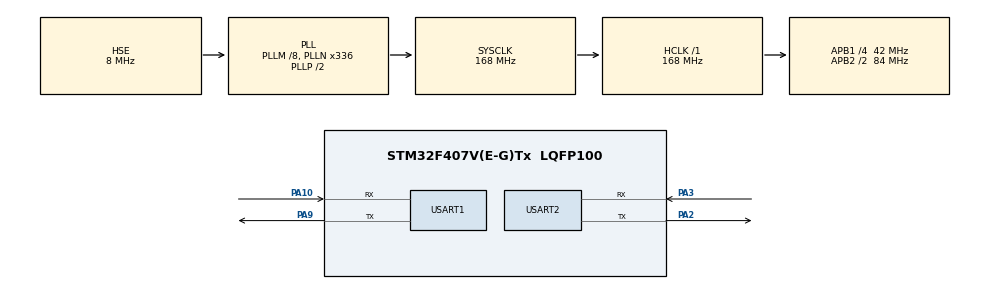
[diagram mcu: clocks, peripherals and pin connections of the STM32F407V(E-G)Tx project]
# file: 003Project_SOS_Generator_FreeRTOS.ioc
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FREERTOS.Tasks01=taskUart,1,128,startUARTtask,Default,NULL,Dynamic,NULL,NULL;taskGPS,-2,128,startGPS,Default,NULL,Dynamic,NULL,NULL
FREERTOS.configUSE_COUNTING_SEMAPHORES=1
Mcu.Family=STM32F4
Mcu.Name=STM32F407V(E-G)Tx
Mcu.Package=LQFP100
NVIC.PriorityGroup=NVIC_PRIORITYGROUP_4
NVIC.TIM6_DAC_IRQn=true\:15\:0\:false\:false\:true\:false\:false\:true\:true
NVIC.TimeBase=TIM6_DAC_IRQn
NVIC.TimeBaseIP=TIM6
PA10.Mode=Asynchronous
PA10.Signal=USART1_RX
PA13.Mode=Trace_Asynchronous_SW
PA13.Signal=SYS_JTMS-SWDIO
PA14.Mode=Trace_Asynchronous_SW
PA14.Signal=SYS_JTCK-SWCLK
PA2.Mode=Asynchronous
PA2.Signal=USART2_TX
PA3.Mode=Asynchronous
PA3.Signal=USART2_RX
PA9.Mode=Asynchronous
PA9.Signal=USART1_TX
PB3.Mode=Trace_Asynchronous_SW
PB3.Signal=SYS_JTDO-SWO
PH0-OSC_IN.Mode=HSE-External-Oscillator
PH0-OSC_IN.Signal=RCC_OSC_IN
PH1-OSC_OUT.Mode=HSE-External-Oscillator
PH1-OSC_OUT.Signal=RCC_OSC_OUT
ProjectManager.HeapSize=0x200
ProjectManager.StackSize=0x400
ProjectManager.TargetToolchain=STM32CubeIDE
RCC.48MHZClocksFreq_Value=48000000
RCC.AHBFreq_Value=168000000
RCC.APB1CLKDivider=RCC_HCLK_DIV4
RCC.APB1Freq_Value=42000000
RCC.APB1TimFreq_Value=84000000
RCC.APB2CLKDivider=RCC_HCLK_DIV2
RCC.APB2Freq_Value=84000000
RCC.APB2TimFreq_Value=168000000
RCC.CortexFreq_Value=168000000
RCC.HCLKFreq_Value=168000000
RCC.HSE_VALUE=8000000
RCC.HSI_VALUE=16000000
RCC.PLLM=8
RCC.PLLN=336
RCC.PLLQ=7
RCC.PLLSourceVirtual=RCC_PLLSOURCE_HSE
RCC.SYSCLKFreq_VALUE=168000000
RCC.SYSCLKSource=RCC_SYSCLKSOURCE_PLLCLK
RCC.VCOOutputFreq_Value=336000000
USART1.VirtualMode=VM_ASYNC
USART2.VirtualMode=VM_ASYNC
VP_FREERTOS_VS_CMSIS_V1.Mode=CMSIS_V1
VP_SYS_VS_tim6.Mode=TIM6
board=STM32F407G-DISC1

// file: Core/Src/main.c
/* USER CODE BEGIN Header */
/**
  ******************************************************************************
  * @file           : main.c
  * @brief          : Main program body
  ******************************************************************************
  * @attention
  *
  * Copyright (c) 2024 STMicroelectronics.
  * All rights reserved.
  *
  * This software is licensed under terms that can be found in the LICENSE file
  * in the root directory of this software component.
  * If no LICENSE file comes with this software, it is provided AS-IS.
  *
  ******************************************************************************
  */
/* USER CODE END Header */
#include "main.h"

/* USER CODE BEGIN Includes */
#include "FreeRTOS.h"
#include "task.h"
#include "timers.h"
#include "queue.h"
#include "semphr.h"
#include "event_groups.h"
#include "GNSS.h"
#include "morse.h"
#include <string.h>
#include <stdio.h>
/* USER CODE END Includes */

/* USER CODE BEGIN PD */
#define ERROR_MESSAGE_Semaphore "Can't create semaphore"
#define MESSAGE_LENGTH (sizeof(ERROR_MESSAGE_Semaphore)-1)

/* USER CODE END PD */

UART_HandleTypeDef huart1;
UART_HandleTypeDef huart2;

/* USER CODE BEGIN PV */
TaskHandle_t UartTaskHandle;
TaskHandle_t GPSTaskHandle;
TaskHandle_t AppendMessageHandle;
SemaphoreHandle_t Semap1Handle = NULL;

extern GNSS_StateHandle GNSS_Handle;

//SOS message
char *sos_message;
/* USER CODE END PV */

void SystemClock_Config(void);
static void MX_GPIO_Init(void);
static void MX_USART1_UART_Init(void);
static void MX_USART2_UART_Init(void);

/* USER CODE BEGIN PFP */
void startUARTtask(void * argument);
void startGPS(void * argument);
void startAppendMessage(void *argument);
/* USER CODE END PFP */

int main(void)
{
  /* USER CODE BEGIN 1 */
	BaseType_t status;
  /* USER CODE END 1 */

  /* MCU Configuration--------------------------------------------------------*/

  /* Reset of all peripherals, Initializes the Flash interface and the Systick. */
  HAL_Init();

  /* USER CODE BEGIN Init */
  GNSS_Init(&GNSS_Handle, &huart1);
  /* USER CODE END Init */

  /* Configure the system clock */
  SystemClock_Config();

  /* Initialize all configured peripherals */
  MX_GPIO_Init();
  MX_USART1_UART_Init();
  MX_USART2_UART_Init();
  /* USER CODE BEGIN 2 */
  GNSS_LoadConfig(&GNSS_Handle);

  //Creates uart and gps task
  status = xTaskCreate(startUARTtask, "UART", 128, NULL, 2, &UartTaskHandle);

  configASSERT(status == pdPASS);

  status = xTaskCreate(startGPS, "GPS", 128, NULL, 3, &GPSTaskHandle);

  configASSERT(status == pdPASS);

  status = xTaskCreate(startAppendMessage, "SOS message", 128, NULL, 1, &AppendMessageHandle);

  configASSERT(status == pdPASS);

  //Creates counting semaphore
  Semap1Handle = xSemaphoreCreateCounting(2,0);

  if(Semap1Handle == NULL){
	  HAL_UART_Transmit(&huart2, (uint8_t *)ERROR_MESSAGE_Semaphore, MESSAGE_LENGTH, HAL_MAX_DELAY);
  }

  //Start task scheduler
  vTaskStartScheduler();

  /* USER CODE END 2 */

  while (1)
  {

  }
}

void SystemClock_Config(void)
{
  RCC_OscInitTypeDef RCC_OscInitStruct = {0};
  RCC_ClkInitTypeDef RCC_ClkInitStruct = {0};

  /** Configure the main internal regulator output voltage
  */
  __HAL_RCC_PWR_CLK_ENABLE();
  __HAL_PWR_VOLTAGESCALING_CONFIG(PWR_REGULATOR_VOLTAGE_SCALE1);

  /** Initializes the RCC Oscillators according to the specified parameters
  * in the RCC_OscInitTypeDef structure.
  */
  RCC_OscInitStruct.OscillatorType = RCC_OSCILLATORTYPE_HSE;
  RCC_OscInitStruct.HSEState = RCC_HSE_ON;
  RCC_OscInitStruct.PLL.PLLState = RCC_PLL_ON;
  RCC_OscInitStruct.PLL.PLLSource = RCC_PLLSOURCE_HSE;
  RCC_OscInitStruct.PLL.PLLM = 8;
  RCC_OscInitStruct.PLL.PLLN = 336;
  RCC_OscInitStruct.PLL.PLLP = RCC_PLLP_DIV2;
  RCC_OscInitStruct.PLL.PLLQ = 7;
  if (HAL_RCC_OscConfig(&RCC_OscInitStruct) != HAL_OK)
  {
    Error_Handler();
  }

  /** Initializes the CPU, AHB and APB buses clocks
  */
  RCC_ClkInitStruct.ClockType = RCC_CLOCKTYPE_HCLK|RCC_CLOCKTYPE_SYSCLK
                              |RCC_CLOCKTYPE_PCLK1|RCC_CLOCKTYPE_PCLK2;
  RCC_ClkInitStruct.SYSCLKSource = RCC_SYSCLKSOURCE_PLLCLK;
  RCC_ClkInitStruct.AHBCLKDivider = RCC_SYSCLK_DIV1;
  RCC_ClkInitStruct.APB1CLKDivider = RCC_HCLK_DIV4;
  RCC_ClkInitStruct.APB2CLKDivider = RCC_HCLK_DIV2;

  if (HAL_RCC_ClockConfig(&RCC_ClkInitStruct, FLASH_LATENCY_5) != HAL_OK)
  {
    Error_Handler();
  }
}

static void MX_USART1_UART_Init(void)
{

  huart1.Instance = USART1;
  huart1.Init.BaudRate = 115200;
  huart1.Init.WordLength = UART_WORDLENGTH_8B;
  huart1.Init.StopBits = UART_STOPBITS_1;
  huart1.Init.Parity = UART_PARITY_NONE;
  huart1.Init.Mode = UART_MODE_TX_RX;
  huart1.Init.HwFlowCtl = UART_HWCONTROL_NONE;
  huart1.Init.OverSampling = UART_OVERSAMPLING_16;
  if (HAL_UART_Init(&huart1) != HAL_OK)
  {
    Error_Handler();
  }

}

static void MX_USART2_UART_Init(void)
{

  huart2.Instance = USART2;
  huart2.Init.BaudRate = 115200;
  huart2.Init.WordLength = UART_WORDLENGTH_8B;
  huart2.Init.StopBits = UART_STOPBITS_1;
  huart2.Init.Parity = UART_PARITY_NONE;
  huart2.Init.Mode = UART_MODE_TX_RX;
  huart2.Init.HwFlowCtl = UART_HWCONTROL_NONE;
  huart2.Init.OverSampling = UART_OVERSAMPLING_16;
  if (HAL_UART_Init(&huart2) != HAL_OK)
  {
    Error_Handler();
  }

}

static void MX_GPIO_Init(void)
{

  /* GPIO Ports Clock Enable */
  __HAL_RCC_GPIOH_CLK_ENABLE();
  __HAL_RCC_GPIOA_CLK_ENABLE();
  __HAL_RCC_GPIOB_CLK_ENABLE();

}

void startUARTtask(void * argument)
{
  /* USER CODE BEGIN 5 */
  /* Infinite loop */
  for(;;)
  {
	  if(xSemaphoreTake(Semap1Handle,portMAX_DELAY) == pdTRUE ){
		  HAL_UART_Transmit(&huart1, (uint8_t *)&sos_message, sizeof(sos_message), HAL_MAX_DELAY);

		  /* We have finished accessing the shared resource. Release the
		    semaphore. */
		  xSemaphoreGive(Semap1Handle);
	  }
  }
  /* USER CODE END 5 */
}

void startGPS(void * argument)
{
  /* USER CODE BEGIN startGPS */

  /* Infinite loop */
  for(;;)
  {
	  /* See if we can obtain the semaphore. If the semaphore is not
	     available wait 100 ticks to see if it becomes free. */
	  if(xSemaphoreTake(Semap1Handle,(TickType_t)100) == pdTRUE){
		  //GNSS functions
		  GNSS_GetUniqID(&GNSS_Handle);
		  GNSS_ParseBuffer(&GNSS_Handle);
		  vTaskDelay(pdMS_TO_TICKS(150));
		  GNSS_GetPVTData(&GNSS_Handle);
		  GNSS_ParseBuffer(&GNSS_Handle);

		  /* We have finished accessing the shared resource. Release the
		     semaphore. */
		  xSemaphoreGive(Semap1Handle);
	  }
  }
  /* USER CODE END startGPS */
}

void startAppendMessage(void *argument){
	float latitude = GNSS_Handle.lat ;
	float longitude = GNSS_Handle.lon;
	char *sos = "SOS";

	for(;;){
		if(xSemaphoreTake(Semap1Handle,portMAX_DELAY) == pdTRUE){
			sprintf(sos_message,"%f %f %s",latitude,longitude,sos);

			/* We have finished accessing the shared resource. Release the
			semaphore. */
			xSemaphoreGive(Semap1Handle);
		}
	}

}

void HAL_TIM_PeriodElapsedCallback(TIM_HandleTypeDef *htim)
{
  if (htim->Instance == TIM6) {
    HAL_IncTick();
  }
}

void Error_Handler(void)
{
  __disable_irq();
  while (1)
  {
  }
}
